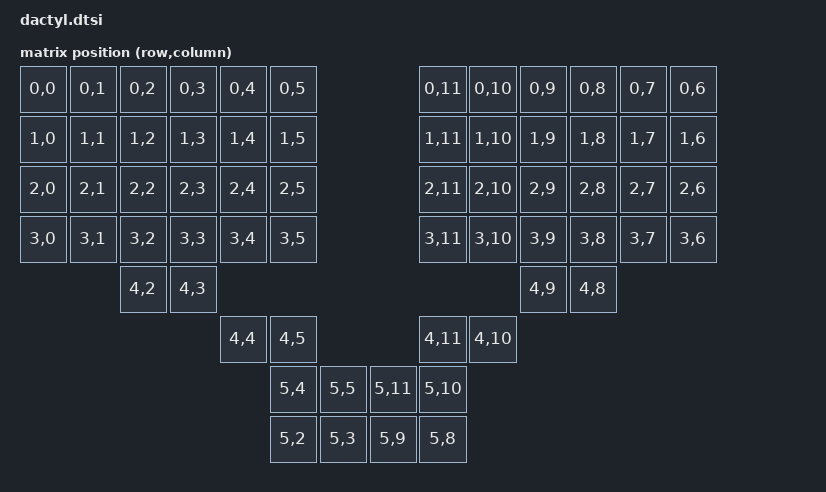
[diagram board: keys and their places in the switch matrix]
#include <dt-bindings/zmk/matrix_transform.h>
#include <physical_layouts.dtsi>

/ {
    chosen {
        zmk,kscan = &kscan0;
        zmk,physical-layout = &dactyl_layout;
    };

    default_transform: keymap_transform_0 {
        compatible = "zmk,matrix-transform";
        columns = <12>;
        rows = <6>;

        map = <
RC(0,0) RC(0,1) RC(0,2) RC(0,3) RC(0,4) RC(0,5)                   RC(0,11) RC(0,10) RC(0,9) RC(0,8) RC(0,7) RC(0,6)
RC(1,0) RC(1,1) RC(1,2) RC(1,3) RC(1,4) RC(1,5)                   RC(1,11) RC(1,10) RC(1,9) RC(1,8) RC(1,7) RC(1,6)
RC(2,0) RC(2,1) RC(2,2) RC(2,3) RC(2,4) RC(2,5)                   RC(2,11) RC(2,10) RC(2,9) RC(2,8) RC(2,7) RC(2,6)
RC(3,0) RC(3,1) RC(3,2) RC(3,3) RC(3,4) RC(3,5)                   RC(3,11) RC(3,10) RC(3,9) RC(3,8) RC(3,7) RC(3,6)
                RC(4,2) RC(4,3)                                                     RC(4,9) RC(4,8)
                                RC(4,4) RC(4,5)                   RC(4,11) RC(4,10)
                                        RC(5,4) RC(5,5)  RC(5,11) RC(5,10)
                                        RC(5,2) RC(5,3)  RC(5,9)  RC(5,8)
        >;
    };

    kscan0: kscan {
        diode-direction = "col2row";
    };

    dactyl_layout: dactyl_layout {
        compatible = "zmk,physical-layout";
        display-name = "dactyl";

        transform = <&default_transform>;

        keys  //                     w   h    x    y     rot    rx    ry
            = <&key_physical_attrs 100 100    0    0       0     0     0>
            , <&key_physical_attrs 100 100  100    0       0     0     0>
            , <&key_physical_attrs 100 100  200    0       0     0     0>
            , <&key_physical_attrs 100 100  300    0       0     0     0>
            , <&key_physical_attrs 100 100  400    0       0     0     0>
            , <&key_physical_attrs 100 100  500    0       0     0     0>
            , <&key_physical_attrs 100 100  800    0       0     0     0>
            , <&key_physical_attrs 100 100  900    0       0     0     0>
            , <&key_physical_attrs 100 100 1000    0       0     0     0>
            , <&key_physical_attrs 100 100 1100    0       0     0     0>
            , <&key_physical_attrs 100 100 1200    0       0     0     0>
            , <&key_physical_attrs 100 100 1300    0       0     0     0>
            , <&key_physical_attrs 100 100    0  100       0     0     0>
            , <&key_physical_attrs 100 100  100  100       0     0     0>
            , <&key_physical_attrs 100 100  200  100       0     0     0>
            , <&key_physical_attrs 100 100  300  100       0     0     0>
            , <&key_physical_attrs 100 100  400  100       0     0     0>
            , <&key_physical_attrs 100 100  500  100       0     0     0>
            , <&key_physical_attrs 100 100  800  100       0     0     0>
            , <&key_physical_attrs 100 100  900  100       0     0     0>
            , <&key_physical_attrs 100 100 1000  100       0     0     0>
            , <&key_physical_attrs 100 100 1100  100       0     0     0>
            , <&key_physical_attrs 100 100 1200  100       0     0     0>
            , <&key_physical_attrs 100 100 1300  100       0     0     0>
            , <&key_physical_attrs 100 100    0  200       0     0     0>
            , <&key_physical_attrs 100 100  100  200       0     0     0>
            , <&key_physical_attrs 100 100  200  200       0     0     0>
            , <&key_physical_attrs 100 100  300  200       0     0     0>
            , <&key_physical_attrs 100 100  400  200       0     0     0>
            , <&key_physical_attrs 100 100  500  200       0     0     0>
            , <&key_physical_attrs 100 100  800  200       0     0     0>
            , <&key_physical_attrs 100 100  900  200       0     0     0>
            , <&key_physical_attrs 100 100 1000  200       0     0     0>
            , <&key_physical_attrs 100 100 1100  200       0     0     0>
            , <&key_physical_attrs 100 100 1200  200       0     0     0>
            , <&key_physical_attrs 100 100 1300  200       0     0     0>
            , <&key_physical_attrs 100 100    0  300       0     0     0>
            , <&key_physical_attrs 100 100  100  300       0     0     0>
            , <&key_physical_attrs 100 100  200  300       0     0     0>
            , <&key_physical_attrs 100 100  300  300       0     0     0>
            , <&key_physical_attrs 100 100  400  300       0     0     0>
            , <&key_physical_attrs 100 100  500  300       0     0     0>
            , <&key_physical_attrs 100 100  800  300       0     0     0>
            , <&key_physical_attrs 100 100  900  300       0     0     0>
            , <&key_physical_attrs 100 100 1000  300       0     0     0>
            , <&key_physical_attrs 100 100 1100  300       0     0     0>
            , <&key_physical_attrs 100 100 1200  300       0     0     0>
            , <&key_physical_attrs 100 100 1300  300       0     0     0>
            , <&key_physical_attrs 100 100  200  400       0     0     0>
            , <&key_physical_attrs 100 100  300  400       0     0     0>
            , <&key_physical_attrs 100 100 1000  400       0     0     0>
            , <&key_physical_attrs 100 100 1100  400       0     0     0>
            , <&key_physical_attrs 100 100  400  500       0     0     0>
            , <&key_physical_attrs 100 100  500  500       0     0     0>
            , <&key_physical_attrs 100 100  800  500       0     0     0>
            , <&key_physical_attrs 100 100  900  500       0     0     0>
            , <&key_physical_attrs 100 100  500  600       0     0     0>
            , <&key_physical_attrs 100 100  600  600       0     0     0>
            , <&key_physical_attrs 100 100  700  600       0     0     0>
            , <&key_physical_attrs 100 100  800  600       0     0     0>
            , <&key_physical_attrs 100 100  500  700       0     0     0>
            , <&key_physical_attrs 100 100  600  700       0     0     0>
            , <&key_physical_attrs 100 100  700  700       0     0     0>
            , <&key_physical_attrs 100 100  800  700       0     0     0>
            ;
    };
    position_map {
        compatible = "zmk,physical-layout-position-map";

        complete;

        default_layout {
            physical-layout = <&dactyl_layout>;
            positions
                = < 0  1  2  3  4  5  6  7  8  9 10 11 12 13 14 15>
                , <16 17 18 19 20 21 22 23 24 25 26 27 28 29 30 31>
                , <32 33 34 35 36 37 38 39 40 41 42 43 44 45 46 47>
                , <48 49 50 51 52 53 54 55 56 57 58 59 60 61 62 63>
                ;
        };
    };
};
